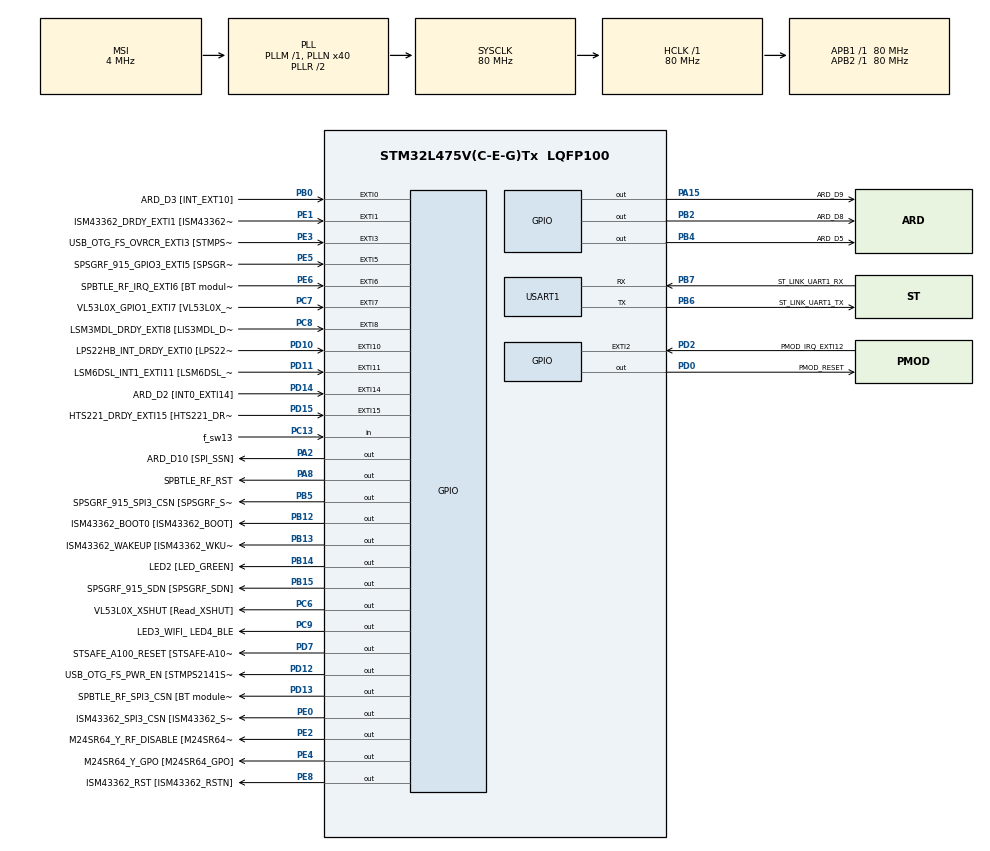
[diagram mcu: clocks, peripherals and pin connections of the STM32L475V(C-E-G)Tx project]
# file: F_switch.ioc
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Mcu.Family=STM32L4
Mcu.Name=STM32L475V(C-E-G)Tx
Mcu.Package=LQFP100
NVIC.EXTI15_10_IRQn=true\:0\:0\:false\:false\:true\:true\:true
NVIC.EXTI9_5_IRQn=true\:0\:0\:false\:false\:true\:true\:true
NVIC.PriorityGroup=NVIC_PRIORITYGROUP_4
NVIC.TIM1_UP_TIM16_IRQn=true\:0\:0\:false\:false\:true\:true\:true
NVIC.USART1_IRQn=true\:0\:0\:false\:false\:true\:true\:true
PA0.GPIO_Label=ARD_D1 [UART4_TX]
PA0.Signal=UART4_TX
PA1.GPIO_Label=ARD_D0 [UART4_RX]
PA1.Signal=UART4_RX
PA10.GPIO_Label=USB_OTG_FS_ID
PA10.Signal=USB_OTG_FS_ID
PA11.GPIO_Label=USB_OTG_FS_DM
PA11.Signal=USB_OTG_FS_DM
PA12.GPIO_Label=USB_OTG_FS_DP
PA12.Signal=USB_OTG_FS_DP
PA13\ (JTMS-SWDIO).GPIO_Label=SYS_JTMS_SWDIO
PA13\ (JTMS-SWDIO).Signal=SYS_JTMS-SWDIO
PA14\ (JTCK-SWCLK).GPIO_Label=SYS_JTCK_SWCLK
PA14\ (JTCK-SWCLK).Signal=SYS_JTCK-SWCLK
PA15\ (JTDI).GPIO_Label=ARD_D9
PA15\ (JTDI).Signal=GPIO_Output
PA2.GPIO_Label=ARD_D10 [SPI_SSN]
PA2.Signal=GPIO_Output
PA3.GPIO_Label=ARD_D4
PA3.Signal=S_TIM2_CH4
PA4.GPIO_Label=ARD_D7
PA4.Signal=ADCx_IN9
PA5.GPIO_Label=ARD_D13 [SPI1_SCK]
PA5.Signal=SPI1_SCK
PA6.GPIO_Label=ARD_D12 [SPI1_MISO]
PA6.Signal=SPI1_MISO
PA7.GPIO_Label=ARD_D11 [SPI1_MOSI]
PA7.Signal=SPI1_MOSI
PA8.GPIO_Label=SPBTLE_RF_RST
PA8.Signal=GPIO_Output
PA9.GPIO_Label=USB_OTG_FS_VBUS [STMPS2141STR_OUT]
PA9.Signal=USB_OTG_FS_VBUS
PB0.GPIO_Label=ARD_D3 [INT_EXT10]
PB0.Signal=GPXTI0
PB1.GPIO_Label=ARD_D6 [ADC1_IN6]
PB1.Signal=ADCx_IN16
PB10.GPIO_Label=INTERNAL_I2C2_SCL [VL53L0X_SCL]
PB10.Signal=I2C2_SCL
PB11.GPIO_Label=INTERNAL_I2C2_SDA [VL53L0X_SDA]
PB11.Signal=I2C2_SDA
PB12.GPIO_Label=ISM43362_BOOT0 [ISM43362_BOOT]
PB12.Signal=GPIO_Output
PB13.GPIO_Label=ISM43362_WAKEUP [ISM43362_WKUP]
PB13.Signal=GPIO_Output
PB14.GPIO_Label=LED2 [LED_GREEN]
PB14.Signal=GPIO_Output
PB15.GPIO_Label=SPSGRF_915_SDN [SPSGRF_SDN]
PB15.Signal=GPIO_Output
PB2.GPIO_Label=ARD_D8
PB2.Signal=GPIO_Output
PB3\ (JTDO-TRACESWO).GPIO_Label=SYS_JTD0_SWO
PB3\ (JTDO-TRACESWO).Signal=SYS_JTDO-SWO
PB4\ (NJTRST).GPIO_Label=ARD_D5
PB4\ (NJTRST).Signal=GPIO_Output
PB5.GPIO_Label=SPSGRF_915_SPI3_CSN [SPSGRF_SPI_CS]
PB5.PinState=GPIO_PIN_SET
PB5.Signal=GPIO_Output
PB6.GPIO_Label=ST_LINK_UART1_TX
PB6.Mode=Asynchronous
PB6.Signal=USART1_TX
PB7.GPIO_Label=ST_LINK_UART1_RX
PB7.Mode=Asynchronous
PB7.Signal=USART1_RX
PB8.GPIO_Label=ARD_D15 [I2C1_SCL]
PB8.Signal=I2C1_SCL
PB9.GPIO_Label=ARD_D14 [I2C1_SDA]
PB9.Signal=I2C1_SDA
PC0.GPIO_Label=ARD_A5 [ADC]
PC0.Signal=ADCx_IN1
PC1.GPIO_Label=ARD_A4 [ADC]
PC1.Signal=ADCx_IN2
PC10.GPIO_Label=INTERNAL_SPI3_SCK [BT module_SPI_SCLK] [ISM43362_SCK]
PC10.Signal=SPI3_SCK
PC11.GPIO_Label=INTERNAL_SPI3_MISO [BT module_SPI_MISO] [ISM43362_MISO]
PC11.Signal=SPI3_MISO
PC12.GPIO_Label=INTERNAL_SPI3_MOSI [BT module_SPI_MOSI] [ISM43362_MOSI]
PC12.Signal=SPI3_MOSI
PC13.GPIO_Label=f_sw13
PC13.Signal=GPIO_Input
PC14-OSC32_IN\ (PC14).Signal=RCC_OSC32_IN
PC15-OSC32_OUT\ (PC15).Signal=RCC_OSC32_OUT
PC2.GPIO_Label=ARD_A3 [ADC]
PC2.Signal=ADCx_IN3
PC3.GPIO_Label=ARD_A2 [ADC]
PC3.Signal=ADCx_IN4
PC4.GPIO_Label=ARD_A1 [ADC]
PC4.Signal=ADCx_IN13
PC5.GPIO_Label=ARD_A0 [ADC]
PC5.Signal=ADCx_IN14
PC6.GPIO_Label=VL53L0X_XSHUT [Read_XSHUT]
PC6.Signal=GPIO_Output
PC7.GPIO_Label=VL53L0X_GPIO1_EXTI7 [VL53L0X_GPIO1]
PC7.Signal=GPXTI7
PC8.GPIO_Label=LSM3MDL_DRDY_EXTI8 [LIS3MDL_DRDY]
PC8.Signal=GPXTI8
PC9.GPIO_Label=LED3_WIFI_ LED4_BLE
PC9.Signal=GPIO_Output
PD0.GPIO_Label=PMOD_RESET
PD0.Signal=GPIO_Output
PD1.GPIO_Label=PMOD_SPI2_SCK
PD1.Signal=SPI2_SCK
PD10.GPIO_Label=LPS22HB_INT_DRDY_EXTI0 [LPS22HB_INT_DRDY] 
PD10.Signal=GPXTI10
PD11.GPIO_Label=LSM6DSL_INT1_EXTI11 [LSM6DSL_INT1]
PD11.Signal=GPXTI11
PD12.GPIO_Label=USB_OTG_FS_PWR_EN [STMPS2141STR_EN]
PD12.Signal=GPIO_Output
PD13.GPIO_Label=SPBTLE_RF_SPI3_CSN [BT module_SPI_CS]
PD13.PinState=GPIO_PIN_SET
PD13.Signal=GPIO_Output
PD14.GPIO_Label=ARD_D2 [INT0_EXTI14]
PD14.Signal=GPXTI14
PD15.GPIO_Label=HTS221_DRDY_EXTI15 [HTS221_DRDY]
PD15.Signal=GPXTI15
PD2.GPIO_Label=PMOD_IRQ_EXTI12
PD2.Signal=GPXTI2
PD3.GPIO_Label=PMOD_UART2_CTS
PD3.Signal=USART2_CTS
PD4.GPIO_Label=PMOD_UART2_RTS
PD4.Signal=USART2_RTS
PD5.GPIO_Label=PMOD_UART2_TX
PD5.Signal=USART2_TX
PD6.GPIO_Label=PMOD_UART2_RX
PD6.Signal=USART2_RX
PD7.GPIO_Label=STSAFE_A100_RESET [STSAFE-A100_RESET]
PD7.Signal=GPIO_Output
PD8.GPIO_Label=INTERNAL_UART3_TX [ISM43362_RX]
PD8.Signal=USART3_TX
PD9.GPIO_Label=INTERNAL_UART3_RX [ISM43362_TX]
PD9.Signal=USART3_RX
PE0.GPIO_Label=ISM43362_SPI3_CSN [ISM43362_SSN]
PE0.PinState=GPIO_PIN_SET
PE0.Signal=GPIO_Output
PE1.GPIO_Label=ISM43362_DRDY_EXTI1 [ISM43362_DATARDY]
PE1.Signal=GPXTI1
PE10.GPIO_Label=QUADSPI_CLK [MX25R6435F_SCLK]
PE10.Signal=QUADSPI_CLK
PE11.GPIO_Label=QUADSPI_NCS [MX25R6435F_SCLK]
PE11.Signal=QUADSPI_NCS
PE12.GPIO_Label=OQUADSPI_BK1_IO0 [MX25R6435F_IO0]
PE12.Signal=QUADSPI_BK1_IO0
PE13.GPIO_Label=QUADSPI_BK1_IO1 [MX25R6435F_IO1]
PE13.Signal=QUADSPI_BK1_IO1
PE14.GPIO_Label=QUAD_SPI_BK1_IO2 [MX25R6435F_IO2]
PE14.Signal=QUADSPI_BK1_IO2
PE15.GPIO_Label=QUAD_SPI_BK1_IO3 [MX25R6435F_IO3]
PE15.Signal=QUADSPI_BK1_IO3
PE2.GPIO_Label=M24SR64_Y_RF_DISABLE [M24SR64_RFDIS]
PE2.Signal=GPIO_Output
PE3.GPIO_Label=USB_OTG_FS_OVRCR_EXTI3 [STMPS2141STR_FAULT]
PE3.Signal=GPXTI3
PE4.GPIO_Label=M24SR64_Y_GPO [M24SR64_GPO]
PE4.Signal=GPIO_Output
PE5.GPIO_Label=SPSGRF_915_GPIO3_EXTI5 [SPSGRF_GPIO_3]
PE5.Signal=GPXTI5
PE6.GPIO_Label=SPBTLE_RF_IRQ_EXTI6 [BT module_SPI_IRQ]
PE6.Signal=GPXTI6
PE7.GPIO_Label=DFSDM1_DATIN2 [MP34DT01_DOUT]
PE7.Signal=S_DATAIN2DFSDM1
PE8.GPIO_Label=ISM43362_RST [ISM43362_RSTN]
PE8.Signal=GPIO_Output
PE9.GPIO_Label=DFSDM1_CKOUT [MP34DT01_CLK]
PE9.Signal=S_CKOUTDFSDM1
ProjectManager.HeapSize=0x200
ProjectManager.StackSize=0x400
ProjectManager.TargetToolchain=STM32CubeIDE
RCC.ADCFreq_Value=48000000
RCC.AHBFreq_Value=80000000
RCC.APB1Freq_Value=80000000
RCC.APB1TimFreq_Value=80000000
RCC.APB2Freq_Value=80000000
RCC.APB2TimFreq_Value=80000000
RCC.CortexFreq_Value=80000000
RCC.HCLKFreq_Value=80000000
RCC.HSE_VALUE=8000000
RCC.HSI_VALUE=16000000
RCC.LSE_VALUE=32768
RCC.MSI_VALUE=4000000
RCC.PLLN=40
RCC.PLLSAI1N=24
RCC.SYSCLKFreq_VALUE=80000000
RCC.SYSCLKSource=RCC_SYSCLKSOURCE_PLLCLK
RCC.USBFreq_Value=48000000
RCC.VCOOutputFreq_Value=160000000
SH.ADCx_IN1.0=ADC1_IN1
SH.ADCx_IN13.0=ADC1_IN13
SH.ADCx_IN14.0=ADC1_IN14
SH.ADCx_IN16.0=ADC1_IN16
SH.ADCx_IN2.0=ADC1_IN2
SH.ADCx_IN3.0=ADC1_IN3
SH.ADCx_IN4.0=ADC1_IN4
SH.ADCx_IN9.0=ADC1_IN9
SH.S_CKOUTDFSDM1.0=DFSDM1_CKOUT
SH.S_DATAIN2DFSDM1.0=DFSDM1_DATIN2
SH.S_TIM2_CH4.0=TIM2_CH4
USART1.VirtualMode-Asynchronous=VM_ASYNC
VP_TIM16_VS_ClockSourceINT.Mode=Enable_Timer
board=B-L475E-IOT01A1

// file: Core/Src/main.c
/* USER CODE BEGIN Header */
/**
  ******************************************************************************
  * @file           : main.c
  * @brief          : Main program body
  ******************************************************************************
  * @attention
  *
  * <h2><center>&copy; Copyright (c) 2022 STMicroelectronics.
  * All rights reserved.</center></h2>
  *
  * This software component is licensed by ST under BSD 3-Clause license,
  * the "License"; You may not use this file except in compliance with the
  * License. You may obtain a copy of the License at:
  *                        opensource.org/licenses/BSD-3-Clause
  *
  ******************************************************************************
  */
/* USER CODE END Header */
#include "main.h"

/* USER CODE BEGIN Includes */
#include"stdio.h"
#include"string.h"
/* USER CODE END Includes */

/* USER CODE BEGIN PM */
#define BUFFERDATA 2
#define BUFFERRX 20
#define f_esc 27
/* USER CODE END PM */

TIM_HandleTypeDef htim16;

UART_HandleTypeDef huart1;

/* USER CODE BEGIN PV */
char TxBuffer[30]="Welcome UART1 INT..!!\r\n";
//char UART1_rxBuffer[30]="OUTPUT receive : \r\n";
char rxBuffer[BUFFERRX];

uint8_t newMsg = 0 , rxData[BUFFERDATA] , rxIndex=0,size=0 ;
uint8_t f_count =0;

uint8_t msg1[] = "\033\143 ****** sensors values measurement ******\n\r";
uint8_t msg2[] = "Initialize ALL sensors\r\n";
uint8_t msg3[] = "\033\143 Please select the option \r\n 1. TEMPERATURE \r\n 2. HUMIDITY \r\n 3. PRESSURE \r\n 4. ACCELERO \r\n 5. GYRO \r\n 6. MAGNETOMETER \r\n ***MENU*** \r\nPress Escape + Enter \r\n\033[A\033[A";
uint8_t com_up[]= "\033[A";
uint8_t com_dn[]= "\033[6B";

//**************************************************************************************
int buttonState = 0;  // 0 = not pressed   --- 1 = short pressed --- 2 = long pressed

//**************************************************************************************

/* USER CODE END PV */

void SystemClock_Config(void);
static void MX_GPIO_Init(void);
static void MX_USART1_UART_Init(void);
static void MX_TIM16_Init(void);

/* USER CODE BEGIN 0 */
int f_Switch(void)
{

	  if(!HAL_GPIO_ReadPin (GPIOC, f_sw13_Pin))
	  {

	 	    if(buttonState == 1 && !HAL_GPIO_ReadPin (GPIOC, f_sw13_Pin))
	 	    {
	 	    	buttonState = 2;
	 	    }
	 	    else if(buttonState == 0 && !HAL_GPIO_ReadPin (GPIOC, f_sw13_Pin))
	 	    {

	 	    	buttonState = 1;
	 	    	HAL_Delay(200);
	 	    	f_Switch();
	 	    }
	 	    else
	 	    {
	 	    	buttonState = 0;
	 	    }
	  }
	  else
	  {
		  __NOP();
	  }

	  switch(buttonState)
	  {
	  	  case 0:
	  	  {
	  		break;
	  		 // nothing is pressed
	  	  }
	  	  case 1:
	  	  {
	  		 buttonState = 0;
	  		 printf("button is pressed short\n");
	  		 break;
	  	  }
	  	  case 2:
	  	  {
	  		 buttonState = 0;
	  		 printf("button is pressed long\n");
	  		 break;
	  	  }
	  }

/*	  if(!buttonState)
	  {
	    // nothing is pressed
	  }
	  else if(buttonState == 1)
	  {
	    printf("button is pressed long\n");
	    //buttonState = 0;
	    //HAL_Delay(200);
	  }
	  else if(buttonState == 2)
	  {
	    printf("button is pressed short\n");
	   // buttonState = 0;
	    //\HAL_Delay(200);
	  }*/

/*
	if(!HAL_GPIO_ReadPin (GPIOC, f_sw13_Pin))
	{
		f_count++;
		printf("Button Press :%d\n",f_count);
		HAL_Delay(200);
	}
	else
	{
		__NOP();
	}
	*/
	return 0;
}
/* USER CODE END 0 */

int main(void)
{

  /* MCU Configuration--------------------------------------------------------*/

  /* Reset of all peripherals, Initializes the Flash interface and the Systick. */
  HAL_Init();

  /* Configure the system clock */
  SystemClock_Config();

  /* Initialize all configured peripherals */
  MX_GPIO_Init();
  MX_USART1_UART_Init();
  MX_TIM16_Init();
  /* USER CODE BEGIN 2 */

  HAL_UART_Transmit(&huart1,(uint8_t*)TxBuffer,strlen(TxBuffer),500);
  HAL_UART_Receive_IT(&huart1,rxData,1);
  HAL_UART_Transmit(&huart1,msg3,sizeof(msg3),100);

  // Start timer
  HAL_TIM_Base_Start(&htim16);

  /* USER CODE END 2 */

  /* Infinite loop */
  while (1)
  {

    /* USER CODE BEGIN 3 */

		f_Switch();

		if(newMsg)
		{
			size =strlen(rxBuffer);

			rxBuffer[size]='\r';
			rxBuffer[size+1]='\n';
			HAL_UART_Transmit(&huart1,(uint8_t*)rxBuffer,(size+3),500);

			memset(rxBuffer,0,(size+3));
			newMsg=0;
		}
  }
  /* USER CODE END 3 */
}

void SystemClock_Config(void)
{
  RCC_OscInitTypeDef RCC_OscInitStruct = {0};
  RCC_ClkInitTypeDef RCC_ClkInitStruct = {0};

  /** Configure the main internal regulator output voltage
  */
  if (HAL_PWREx_ControlVoltageScaling(PWR_REGULATOR_VOLTAGE_SCALE1) != HAL_OK)
  {
    Error_Handler();
  }
  /** Initializes the RCC Oscillators according to the specified parameters
  * in the RCC_OscInitTypeDef structure.
  */
  RCC_OscInitStruct.OscillatorType = RCC_OSCILLATORTYPE_MSI;
  RCC_OscInitStruct.MSIState = RCC_MSI_ON;
  RCC_OscInitStruct.MSICalibrationValue = 0;
  RCC_OscInitStruct.MSIClockRange = RCC_MSIRANGE_6;
  RCC_OscInitStruct.PLL.PLLState = RCC_PLL_ON;
  RCC_OscInitStruct.PLL.PLLSource = RCC_PLLSOURCE_MSI;
  RCC_OscInitStruct.PLL.PLLM = 1;
  RCC_OscInitStruct.PLL.PLLN = 40;
  RCC_OscInitStruct.PLL.PLLP = RCC_PLLP_DIV7;
  RCC_OscInitStruct.PLL.PLLQ = RCC_PLLQ_DIV2;
  RCC_OscInitStruct.PLL.PLLR = RCC_PLLR_DIV2;
  if (HAL_RCC_OscConfig(&RCC_OscInitStruct) != HAL_OK)
  {
    Error_Handler();
  }
  /** Initializes the CPU, AHB and APB buses clocks
  */
  RCC_ClkInitStruct.ClockType = RCC_CLOCKTYPE_HCLK|RCC_CLOCKTYPE_SYSCLK
                              |RCC_CLOCKTYPE_PCLK1|RCC_CLOCKTYPE_PCLK2;
  RCC_ClkInitStruct.SYSCLKSource = RCC_SYSCLKSOURCE_PLLCLK;
  RCC_ClkInitStruct.AHBCLKDivider = RCC_SYSCLK_DIV1;
  RCC_ClkInitStruct.APB1CLKDivider = RCC_HCLK_DIV1;
  RCC_ClkInitStruct.APB2CLKDivider = RCC_HCLK_DIV1;

  if (HAL_RCC_ClockConfig(&RCC_ClkInitStruct, FLASH_LATENCY_4) != HAL_OK)
  {
    Error_Handler();
  }
}

static void MX_TIM16_Init(void)
{

  htim16.Instance = TIM16;
  htim16.Init.Prescaler = 0;
  htim16.Init.CounterMode = TIM_COUNTERMODE_UP;
  htim16.Init.Period = 65535;
  htim16.Init.ClockDivision = TIM_CLOCKDIVISION_DIV1;
  htim16.Init.RepetitionCounter = 0;
  htim16.Init.AutoReloadPreload = TIM_AUTORELOAD_PRELOAD_DISABLE;
  if (HAL_TIM_Base_Init(&htim16) != HAL_OK)
  {
    Error_Handler();
  }

}

static void MX_USART1_UART_Init(void)
{

  huart1.Instance = USART1;
  huart1.Init.BaudRate = 115200;
  huart1.Init.WordLength = UART_WORDLENGTH_8B;
  huart1.Init.StopBits = UART_STOPBITS_1;
  huart1.Init.Parity = UART_PARITY_NONE;
  huart1.Init.Mode = UART_MODE_TX_RX;
  huart1.Init.HwFlowCtl = UART_HWCONTROL_NONE;
  huart1.Init.OverSampling = UART_OVERSAMPLING_16;
  huart1.Init.OneBitSampling = UART_ONE_BIT_SAMPLE_DISABLE;
  huart1.AdvancedInit.AdvFeatureInit = UART_ADVFEATURE_NO_INIT;
  if (HAL_UART_Init(&huart1) != HAL_OK)
  {
    Error_Handler();
  }

}

static void MX_GPIO_Init(void)
{
  GPIO_InitTypeDef GPIO_InitStruct = {0};

  /* GPIO Ports Clock Enable */
  __HAL_RCC_GPIOE_CLK_ENABLE();
  __HAL_RCC_GPIOC_CLK_ENABLE();
  __HAL_RCC_GPIOA_CLK_ENABLE();
  __HAL_RCC_GPIOB_CLK_ENABLE();
  __HAL_RCC_GPIOD_CLK_ENABLE();

  /*Configure GPIO pin Output Level */
  HAL_GPIO_WritePin(GPIOE, M24SR64_Y_RF_DISABLE_Pin|M24SR64_Y_GPO_Pin|ISM43362_RST_Pin, GPIO_PIN_RESET);

  /*Configure GPIO pin Output Level */
  HAL_GPIO_WritePin(GPIOA, ARD_D10_Pin|SPBTLE_RF_RST_Pin|ARD_D9_Pin, GPIO_PIN_RESET);

  /*Configure GPIO pin Output Level */
  HAL_GPIO_WritePin(GPIOB, ARD_D8_Pin|ISM43362_BOOT0_Pin|ISM43362_WAKEUP_Pin|LED2_Pin
                          |SPSGRF_915_SDN_Pin|ARD_D5_Pin, GPIO_PIN_RESET);

  /*Configure GPIO pin Output Level */
  HAL_GPIO_WritePin(GPIOD, USB_OTG_FS_PWR_EN_Pin|PMOD_RESET_Pin|STSAFE_A100_RESET_Pin, GPIO_PIN_RESET);

  /*Configure GPIO pin Output Level */
  HAL_GPIO_WritePin(SPBTLE_RF_SPI3_CSN_GPIO_Port, SPBTLE_RF_SPI3_CSN_Pin, GPIO_PIN_SET);

  /*Configure GPIO pin Output Level */
  HAL_GPIO_WritePin(GPIOC, VL53L0X_XSHUT_Pin|LED3_WIFI__LED4_BLE_Pin, GPIO_PIN_RESET);

  /*Configure GPIO pin Output Level */
  HAL_GPIO_WritePin(SPSGRF_915_SPI3_CSN_GPIO_Port, SPSGRF_915_SPI3_CSN_Pin, GPIO_PIN_SET);

  /*Configure GPIO pin Output Level */
  HAL_GPIO_WritePin(ISM43362_SPI3_CSN_GPIO_Port, ISM43362_SPI3_CSN_Pin, GPIO_PIN_SET);

  /*Configure GPIO pins : M24SR64_Y_RF_DISABLE_Pin M24SR64_Y_GPO_Pin ISM43362_RST_Pin ISM43362_SPI3_CSN_Pin */
  GPIO_InitStruct.Pin = M24SR64_Y_RF_DISABLE_Pin|M24SR64_Y_GPO_Pin|ISM43362_RST_Pin|ISM43362_SPI3_CSN_Pin;
  GPIO_InitStruct.Mode = GPIO_MODE_OUTPUT_PP;
  GPIO_InitStruct.Pull = GPIO_NOPULL;
  GPIO_InitStruct.Speed = GPIO_SPEED_FREQ_LOW;
  HAL_GPIO_Init(GPIOE, &GPIO_InitStruct);

  /*Configure GPIO pins : USB_OTG_FS_OVRCR_EXTI3_Pin SPSGRF_915_GPIO3_EXTI5_Pin SPBTLE_RF_IRQ_EXTI6_Pin ISM43362_DRDY_EXTI1_Pin */
  GPIO_InitStruct.Pin = USB_OTG_FS_OVRCR_EXTI3_Pin|SPSGRF_915_GPIO3_EXTI5_Pin|SPBTLE_RF_IRQ_EXTI6_Pin|ISM43362_DRDY_EXTI1_Pin;
  GPIO_InitStruct.Mode = GPIO_MODE_IT_RISING;
  GPIO_InitStruct.Pull = GPIO_NOPULL;
  HAL_GPIO_Init(GPIOE, &GPIO_InitStruct);

  /*Configure GPIO pin : f_sw13_Pin */
  GPIO_InitStruct.Pin = f_sw13_Pin;
  GPIO_InitStruct.Mode = GPIO_MODE_INPUT;
  GPIO_InitStruct.Pull = GPIO_NOPULL;
  HAL_GPIO_Init(f_sw13_GPIO_Port, &GPIO_InitStruct);

  /*Configure GPIO pins : ARD_A5_Pin ARD_A4_Pin ARD_A3_Pin ARD_A2_Pin
                           ARD_A1_Pin ARD_A0_Pin */
  GPIO_InitStruct.Pin = ARD_A5_Pin|ARD_A4_Pin|ARD_A3_Pin|ARD_A2_Pin
                          |ARD_A1_Pin|ARD_A0_Pin;
  GPIO_InitStruct.Mode = GPIO_MODE_ANALOG_ADC_CONTROL;
  GPIO_InitStruct.Pull = GPIO_NOPULL;
  HAL_GPIO_Init(GPIOC, &GPIO_InitStruct);

  /*Configure GPIO pins : ARD_D1_Pin ARD_D0_Pin */
  GPIO_InitStruct.Pin = ARD_D1_Pin|ARD_D0_Pin;
  GPIO_InitStruct.Mode = GPIO_MODE_AF_PP;
  GPIO_InitStruct.Pull = GPIO_NOPULL;
  GPIO_InitStruct.Speed = GPIO_SPEED_FREQ_VERY_HIGH;
  GPIO_InitStruct.Alternate = GPIO_AF8_UART4;
  HAL_GPIO_Init(GPIOA, &GPIO_InitStruct);

  /*Configure GPIO pins : ARD_D10_Pin SPBTLE_RF_RST_Pin ARD_D9_Pin */
  GPIO_InitStruct.Pin = ARD_D10_Pin|SPBTLE_RF_RST_Pin|ARD_D9_Pin;
  GPIO_InitStruct.Mode = GPIO_MODE_OUTPUT_PP;
  GPIO_InitStruct.Pull = GPIO_NOPULL;
  GPIO_InitStruct.Speed = GPIO_SPEED_FREQ_LOW;
  HAL_GPIO_Init(GPIOA, &GPIO_InitStruct);

  /*Configure GPIO pin : ARD_D4_Pin */
  GPIO_InitStruct.Pin = ARD_D4_Pin;
  GPIO_InitStruct.Mode = GPIO_MODE_AF_PP;
  GPIO_InitStruct.Pull = GPIO_NOPULL;
  GPIO_InitStruct.Speed = GPIO_SPEED_FREQ_LOW;
  GPIO_InitStruct.Alternate = GPIO_AF1_TIM2;
  HAL_GPIO_Init(ARD_D4_GPIO_Port, &GPIO_InitStruct);

  /*Configure GPIO pin : ARD_D7_Pin */
  GPIO_InitStruct.Pin = ARD_D7_Pin;
  GPIO_InitStruct.Mode = GPIO_MODE_ANALOG_ADC_CONTROL;
  GPIO_InitStruct.Pull = GPIO_NOPULL;
  HAL_GPIO_Init(ARD_D7_GPIO_Port, &GPIO_InitStruct);

  /*Configure GPIO pins : ARD_D13_Pin ARD_D12_Pin ARD_D11_Pin */
  GPIO_InitStruct.Pin = ARD_D13_Pin|ARD_D12_Pin|ARD_D11_Pin;
  GPIO_InitStruct.Mode = GPIO_MODE_AF_PP;
  GPIO_InitStruct.Pull = GPIO_NOPULL;
  GPIO_InitStruct.Speed = GPIO_SPEED_FREQ_VERY_HIGH;
  GPIO_InitStruct.Alternate = GPIO_AF5_SPI1;
  HAL_GPIO_Init(GPIOA, &GPIO_InitStruct);

  /*Configure GPIO pin : ARD_D3_Pin */
  GPIO_InitStruct.Pin = ARD_D3_Pin;
  GPIO_InitStruct.Mode = GPIO_MODE_IT_RISING;
  GPIO_InitStruct.Pull = GPIO_NOPULL;
  HAL_GPIO_Init(ARD_D3_GPIO_Port, &GPIO_InitStruct);

  /*Configure GPIO pin : ARD_D6_Pin */
  GPIO_InitStruct.Pin = ARD_D6_Pin;
  GPIO_InitStruct.Mode = GPIO_MODE_ANALOG_ADC_CONTROL;
  GPIO_InitStruct.Pull = GPIO_NOPULL;
  HAL_GPIO_Init(ARD_D6_GPIO_Port, &GPIO_InitStruct);

  /*Configure GPIO pins : ARD_D8_Pin ISM43362_BOOT0_Pin ISM43362_WAKEUP_Pin LED2_Pin
                           SPSGRF_915_SDN_Pin ARD_D5_Pin SPSGRF_915_SPI3_CSN_Pin */
  GPIO_InitStruct.Pin = ARD_D8_Pin|ISM43362_BOOT0_Pin|ISM43362_WAKEUP_Pin|LED2_Pin
                          |SPSGRF_915_SDN_Pin|ARD_D5_Pin|SPSGRF_915_SPI3_CSN_Pin;
  GPIO_InitStruct.Mode = GPIO_MODE_OUTPUT_PP;
  GPIO_InitStruct.Pull = GPIO_NOPULL;
  GPIO_InitStruct.Speed = GPIO_SPEED_FREQ_LOW;
  HAL_GPIO_Init(GPIOB, &GPIO_InitStruct);

  /*Configure GPIO pins : DFSDM1_DATIN2_Pin DFSDM1_CKOUT_Pin */
  GPIO_InitStruct.Pin = DFSDM1_DATIN2_Pin|DFSDM1_CKOUT_Pin;
  GPIO_InitStruct.Mode = GPIO_MODE_AF_PP;
  GPIO_InitStruct.Pull = GPIO_NOPULL;
  GPIO_InitStruct.Speed = GPIO_SPEED_FREQ_LOW;
  GPIO_InitStruct.Alternate = GPIO_AF6_DFSDM1;
  HAL_GPIO_Init(GPIOE, &GPIO_InitStruct);

  /*Configure GPIO pins : QUADSPI_CLK_Pin QUADSPI_NCS_Pin OQUADSPI_BK1_IO0_Pin QUADSPI_BK1_IO1_Pin
                           QUAD_SPI_BK1_IO2_Pin QUAD_SPI_BK1_IO3_Pin */
  GPIO_InitStruct.Pin = QUADSPI_CLK_Pin|QUADSPI_NCS_Pin|OQUADSPI_BK1_IO0_Pin|QUADSPI_BK1_IO1_Pin
                          |QUAD_SPI_BK1_IO2_Pin|QUAD_SPI_BK1_IO3_Pin;
  GPIO_InitStruct.Mode = GPIO_MODE_AF_PP;
  GPIO_InitStruct.Pull = GPIO_NOPULL;
  GPIO_InitStruct.Speed = GPIO_SPEED_FREQ_VERY_HIGH;
  GPIO_InitStruct.Alternate = GPIO_AF10_QUADSPI;
  HAL_GPIO_Init(GPIOE, &GPIO_InitStruct);

  /*Configure GPIO pins : INTERNAL_I2C2_SCL_Pin INTERNAL_I2C2_SDA_Pin */
  GPIO_InitStruct.Pin = INTERNAL_I2C2_SCL_Pin|INTERNAL_I2C2_SDA_Pin;
  GPIO_InitStruct.Mode = GPIO_MODE_AF_OD;
  GPIO_InitStruct.Pull = GPIO_NOPULL;
  GPIO_InitStruct.Speed = GPIO_SPEED_FREQ_VERY_HIGH;
  GPIO_InitStruct.Alternate = GPIO_AF4_I2C2;
  HAL_GPIO_Init(GPIOB, &GPIO_InitStruct);

  /*Configure GPIO pins : INTERNAL_UART3_TX_Pin INTERNAL_UART3_RX_Pin */
  GPIO_InitStruct.Pin = INTERNAL_UART3_TX_Pin|INTERNAL_UART3_RX_Pin;
  GPIO_InitStruct.Mode = GPIO_MODE_AF_PP;
  GPIO_InitStruct.Pull = GPIO_NOPULL;
  GPIO_InitStruct.Speed = GPIO_SPEED_FREQ_VERY_HIGH;
  GPIO_InitStruct.Alternate = GPIO_AF7_USART3;
  HAL_GPIO_Init(GPIOD, &GPIO_InitStruct);

  /*Configure GPIO pins : LPS22HB_INT_DRDY_EXTI0_Pin LSM6DSL_INT1_EXTI11_Pin ARD_D2_Pin HTS221_DRDY_EXTI15_Pin
                           PMOD_IRQ_EXTI12_Pin */
  GPIO_InitStruct.Pin = LPS22HB_INT_DRDY_EXTI0_Pin|LSM6DSL_INT1_EXTI11_Pin|ARD_D2_Pin|HTS221_DRDY_EXTI15_Pin
                          |PMOD_IRQ_EXTI12_Pin;
  GPIO_InitStruct.Mode = GPIO_MODE_IT_RISING;
  GPIO_InitStruct.Pull = GPIO_NOPULL;
  HAL_GPIO_Init(GPIOD, &GPIO_InitStruct);

  /*Configure GPIO pins : USB_OTG_FS_PWR_EN_Pin SPBTLE_RF_SPI3_CSN_Pin PMOD_RESET_Pin STSAFE_A100_RESET_Pin */
  GPIO_InitStruct.Pin = USB_OTG_FS_PWR_EN_Pin|SPBTLE_RF_SPI3_CSN_Pin|PMOD_RESET_Pin|STSAFE_A100_RESET_Pin;
  GPIO_InitStruct.Mode = GPIO_MODE_OUTPUT_PP;
  GPIO_InitStruct.Pull = GPIO_NOPULL;
  GPIO_InitStruct.Speed = GPIO_SPEED_FREQ_LOW;
  HAL_GPIO_Init(GPIOD, &GPIO_InitStruct);

  /*Configure GPIO pins : VL53L0X_XSHUT_Pin LED3_WIFI__LED4_BLE_Pin */
  GPIO_InitStruct.Pin = VL53L0X_XSHUT_Pin|LED3_WIFI__LED4_BLE_Pin;
  GPIO_InitStruct.Mode = GPIO_MODE_OUTPUT_PP;
  GPIO_InitStruct.Pull = GPIO_NOPULL;
  GPIO_InitStruct.Speed = GPIO_SPEED_FREQ_LOW;
  HAL_GPIO_Init(GPIOC, &GPIO_InitStruct);

  /*Configure GPIO pins : VL53L0X_GPIO1_EXTI7_Pin LSM3MDL_DRDY_EXTI8_Pin */
  GPIO_InitStruct.Pin = VL53L0X_GPIO1_EXTI7_Pin|LSM3MDL_DRDY_EXTI8_Pin;
  GPIO_InitStruct.Mode = GPIO_MODE_IT_RISING;
  GPIO_InitStruct.Pull = GPIO_NOPULL;
  HAL_GPIO_Init(GPIOC, &GPIO_InitStruct);

  /*Configure GPIO pin : USB_OTG_FS_VBUS_Pin */
  GPIO_InitStruct.Pin = USB_OTG_FS_VBUS_Pin;
  GPIO_InitStruct.Mode = GPIO_MODE_INPUT;
  GPIO_InitStruct.Pull = GPIO_NOPULL;
  HAL_GPIO_Init(USB_OTG_FS_VBUS_GPIO_Port, &GPIO_InitStruct);

  /*Configure GPIO pins : USB_OTG_FS_ID_Pin USB_OTG_FS_DM_Pin USB_OTG_FS_DP_Pin */
  GPIO_InitStruct.Pin = USB_OTG_FS_ID_Pin|USB_OTG_FS_DM_Pin|USB_OTG_FS_DP_Pin;
  GPIO_InitStruct.Mode = GPIO_MODE_AF_PP;
  GPIO_InitStruct.Pull = GPIO_NOPULL;
  GPIO_InitStruct.Speed = GPIO_SPEED_FREQ_VERY_HIGH;
  GPIO_InitStruct.Alternate = GPIO_AF10_OTG_FS;
  HAL_GPIO_Init(GPIOA, &GPIO_InitStruct);

  /*Configure GPIO pins : INTERNAL_SPI3_SCK_Pin INTERNAL_SPI3_MISO_Pin INTERNAL_SPI3_MOSI_Pin */
  GPIO_InitStruct.Pin = INTERNAL_SPI3_SCK_Pin|INTERNAL_SPI3_MISO_Pin|INTERNAL_SPI3_MOSI_Pin;
  GPIO_InitStruct.Mode = GPIO_MODE_AF_PP;
  GPIO_InitStruct.Pull = GPIO_NOPULL;
  GPIO_InitStruct.Speed = GPIO_SPEED_FREQ_VERY_HIGH;
  GPIO_InitStruct.Alternate = GPIO_AF6_SPI3;
  HAL_GPIO_Init(GPIOC, &GPIO_InitStruct);

  /*Configure GPIO pin : PMOD_SPI2_SCK_Pin */
  GPIO_InitStruct.Pin = PMOD_SPI2_SCK_Pin;
  GPIO_InitStruct.Mode = GPIO_MODE_AF_PP;
  GPIO_InitStruct.Pull = GPIO_NOPULL;
  GPIO_InitStruct.Speed = GPIO_SPEED_FREQ_VERY_HIGH;
  GPIO_InitStruct.Alternate = GPIO_AF5_SPI2;
  HAL_GPIO_Init(PMOD_SPI2_SCK_GPIO_Port, &GPIO_InitStruct);

  /*Configure GPIO pins : PMOD_UART2_CTS_Pin PMOD_UART2_RTS_Pin PMOD_UART2_TX_Pin PMOD_UART2_RX_Pin */
  GPIO_InitStruct.Pin = PMOD_UART2_CTS_Pin|PMOD_UART2_RTS_Pin|PMOD_UART2_TX_Pin|PMOD_UART2_RX_Pin;
  GPIO_InitStruct.Mode = GPIO_MODE_AF_PP;
  GPIO_InitStruct.Pull = GPIO_NOPULL;
  GPIO_InitStruct.Speed = GPIO_SPEED_FREQ_VERY_HIGH;
  GPIO_InitStruct.Alternate = GPIO_AF7_USART2;
  HAL_GPIO_Init(GPIOD, &GPIO_InitStruct);

  /*Configure GPIO pins : ARD_D15_Pin ARD_D14_Pin */
  GPIO_InitStruct.Pin = ARD_D15_Pin|ARD_D14_Pin;
  GPIO_InitStruct.Mode = GPIO_MODE_AF_OD;
  GPIO_InitStruct.Pull = GPIO_NOPULL;
  GPIO_InitStruct.Speed = GPIO_SPEED_FREQ_VERY_HIGH;
  GPIO_InitStruct.Alternate = GPIO_AF4_I2C1;
  HAL_GPIO_Init(GPIOB, &GPIO_InitStruct);

  /* EXTI interrupt init*/
  HAL_NVIC_SetPriority(EXTI9_5_IRQn, 0, 0);
  HAL_NVIC_EnableIRQ(EXTI9_5_IRQn);

  HAL_NVIC_SetPriority(EXTI15_10_IRQn, 0, 0);
  HAL_NVIC_EnableIRQ(EXTI15_10_IRQn);

}

/* USER CODE BEGIN 4 */

void HAL_UART_RxCpltCallback(UART_HandleTypeDef *huart)
{
    if(huart -> Instance == USART1)
    {
    	//if((rxData[0]!='\r')||(rxData[0]!='\e'))
    	//if(rxData[0]!='\e')
    	//if(rxData[0]!='\r')
    	//if(rxData[0]!='[')
    	printf("%d\n",rxData[0]);
    	//if(rxData[0]!='\e')
    	if(rxData[0]!='\r')
    	{
            rxBuffer[rxIndex]=rxData[0];
            rxIndex++;

        }
        else
        {
            newMsg=1;
            rxIndex=0;
        }
        HAL_UART_Receive_IT(&huart1 ,rxData,1);
    }
}
/* USER CODE END 4 */

void Error_Handler(void)
{
  __disable_irq();
  while (1)
  {
  }
}

/************************ (C) COPYRIGHT STMicroelectronics *****END OF FILE****/
